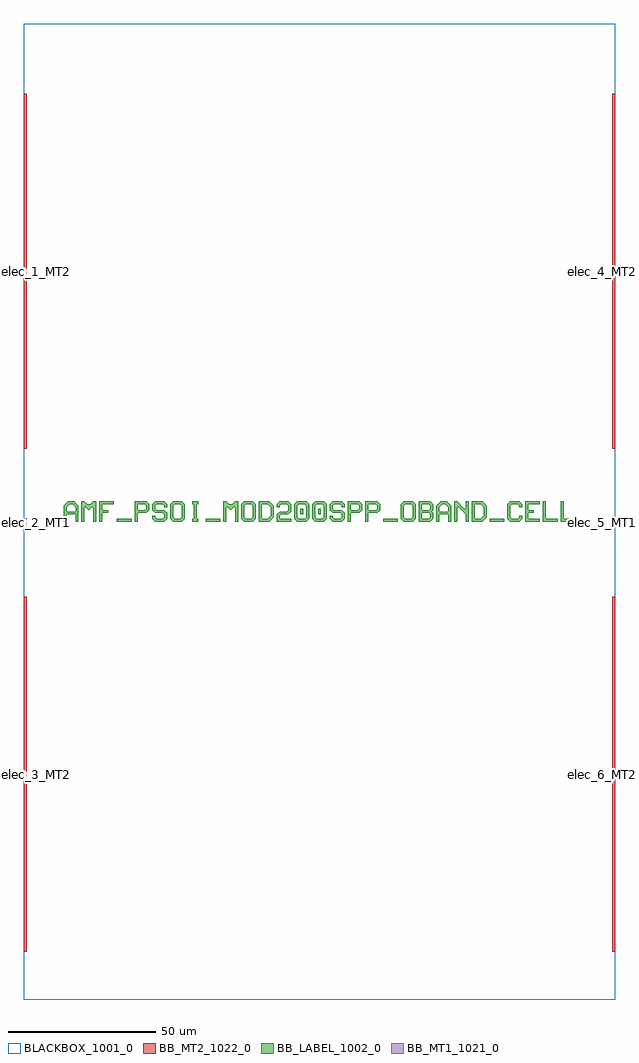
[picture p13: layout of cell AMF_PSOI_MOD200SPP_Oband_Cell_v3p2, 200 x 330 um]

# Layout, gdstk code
import gdstk
lib = gdstk.Library(unit=1e-6, precision=1e-09)
def R(c, l, rs):  # rectangles x0, y0, x1, y1
    for r in rs: c.add(gdstk.rectangle(r[:2], r[2:], *l))
def P(c, l, *ps):  # polygons
    for p in ps: c.add(gdstk.Polygon(p, *l))
BLACKBOX_1001_0 = (1001, 0)
BB_LABEL_1002_0 = (1002, 0)
BB_MT1_1021_0 = (1021, 0)
BB_MT2_1022_0 = (1022, 0)

amf_psoi_mod200spp_oband = lib.new_cell('AMF_PSOI_MOD200SPP_Oband_Cell_v3p2')
R(amf_psoi_mod200spp_oband, BLACKBOX_1001_0, [(0,-161.2,200,168.8)])
R(amf_psoi_mod200spp_oband, BB_LABEL_1002_0, [(31.5,0.3,36.5,1.3), (61.5,0.3,66.5,1.3), (121.5,0.3,126.5,1.3), (157.5,0.3,162.5,1.3), (93.5,2.8,94.5,4.8), (99.5,2.8,100.5,4.8)])
P(amf_psoi_mod200spp_oband, BB_LABEL_1002_0, [(13.5,0.3),(13.5,5.8),(15,7.3),(17,7.3),(18,6.3),(15.5,6.3),(14.5,5.3),(14.5,3.8),(17.5,3.8),(17.5,5.3),(16.5,6.3),(18,6.3),(18.5,5.8),(18.5,0.3),(17.5,0.3),(17.5,2.8),(14.5,2.8),(14.5,0.3)],
  [(19.5,0.3),(19.5,7.3),(20.5,7.3),(21.5,6.3),(22.5,6.3),(23.5,7.3),(24.5,7.3),(24.5,0.3),(23.5,0.3),(23.5,5.3),(23,5.3),(22,4.3),(21,5.3),(20.5,5.3),(20.5,0.3)],
  [(25.5,0.3),(25.5,7.3),(30.5,7.3),(30.5,6.3),(26.5,6.3),(26.5,4.3),(28.5,4.3),(28.5,3.3),(26.5,3.3),(26.5,0.3)],
  [(37.5,0.3),(37.5,7.3),(41.5,7.3),(42.5,6.3),(42.5,4.3),(41.5,3.3),(38.5,3.3),(38.5,4.3),(41,4.3),(41.5,4.8),(41.5,5.8),(41,6.3),(38.5,6.3),(38.5,0.3)],
  [(44.5,0.3),(43.5,1.3),(43.5,2.3),(44.5,2.3),(44.5,1.8),(45,1.3),(47,1.3),(47.5,1.8),(47.5,2.8),(47,3.3),(44.5,3.3),(43.5,4.3),(43.5,6.3),(44.5,7.3),(47.5,7.3),(48.5,6.3),(48.5,5.3),(47.5,5.3),(47.5,5.8),(47,6.3),(45,6.3),(44.5,5.8),(44.5,4.8),(45,4.3),(47.5,4.3),(48.5,3.3),(48.5,1.3),(47.5,0.3)],
  [(50.5,0.3),(49.5,1.3),(49.5,6.3),(50.5,7.3),(53.5,7.3),(54.5,6.3),(54.5,3.8),(53.5,3.8),(53.5,5.8),(53,6.3),(51,6.3),(50.5,5.8),(50.5,1.8),(51,1.3),(53,1.3),(53.5,1.8),(53.5,3.8),(54.5,3.8),(54.5,1.3),(53.5,0.3)],
  [(57,0.3),(57,1.3),(57.5,1.3),(57.5,6.3),(57,6.3),(57,7.3),(59,7.3),(59,6.3),(58.5,6.3),(58.5,1.3),(59,1.3),(59,0.3)],
  [(67.5,0.3),(67.5,7.3),(68.5,7.3),(69.5,6.3),(70.5,6.3),(71.5,7.3),(72.5,7.3),(72.5,0.3),(71.5,0.3),(71.5,5.3),(71,5.3),(70,4.3),(69,5.3),(68.5,5.3),(68.5,0.3)],
  [(74.5,0.3),(73.5,1.3),(73.5,6.3),(74.5,7.3),(77.5,7.3),(78.5,6.3),(78.5,3.8),(77.5,3.8),(77.5,5.8),(77,6.3),(75,6.3),(74.5,5.8),(74.5,1.8),(75,1.3),(77,1.3),(77.5,1.8),(77.5,3.8),(78.5,3.8),(78.5,1.3),(77.5,0.3)],
  [(79.5,0.3),(79.5,7.3),(83,7.3),(84,6.3),(80.5,6.3),(80.5,1.3),(82.5,1.3),(83.5,2.3),(83.5,5.3),(82.5,6.3),(84,6.3),(84.5,5.8),(84.5,1.8),(83,0.3)],
  [(85.5,0.3),(85.5,2.8),(86.5,3.8),(89,3.8),(89.5,4.3),(89.5,5.8),(89,6.3),(87,6.3),(86.5,5.8),(86.5,5.3),(85.5,5.3),(85.5,6.3),(86.5,7.3),(89.5,7.3),(90.5,6.3),(90.5,3.8),(89.5,2.8),(87,2.8),(86.5,2.3),(86.5,1.3),(90.5,1.3),(90.5,0.3)],
  [(92.5,0.3),(91.5,1.3),(91.5,6.3),(92.5,7.3),(95.5,7.3),(96.5,6.3),(93,6.3),(92.5,5.8),(92.5,1.8),(93,1.3),(95,1.3),(95.5,1.8),(95.5,5.8),(95,6.3),(96.5,6.3),(96.5,1.3),(95.5,0.3)],
  [(98.5,0.3),(97.5,1.3),(97.5,6.3),(98.5,7.3),(101.5,7.3),(102.5,6.3),(99,6.3),(98.5,5.8),(98.5,1.8),(99,1.3),(101,1.3),(101.5,1.8),(101.5,5.8),(101,6.3),(102.5,6.3),(102.5,1.3),(101.5,0.3)],
  [(104.5,0.3),(103.5,1.3),(103.5,2.3),(104.5,2.3),(104.5,1.8),(105,1.3),(107,1.3),(107.5,1.8),(107.5,2.8),(107,3.3),(104.5,3.3),(103.5,4.3),(103.5,6.3),(104.5,7.3),(107.5,7.3),(108.5,6.3),(108.5,5.3),(107.5,5.3),(107.5,5.8),(107,6.3),(105,6.3),(104.5,5.8),(104.5,4.8),(105,4.3),(107.5,4.3),(108.5,3.3),(108.5,1.3),(107.5,0.3)],
  [(109.5,0.3),(109.5,7.3),(113.5,7.3),(114.5,6.3),(114.5,4.3),(113.5,3.3),(110.5,3.3),(110.5,4.3),(113,4.3),(113.5,4.8),(113.5,5.8),(113,6.3),(110.5,6.3),(110.5,0.3)],
  [(115.5,0.3),(115.5,7.3),(119.5,7.3),(120.5,6.3),(120.5,4.3),(119.5,3.3),(116.5,3.3),(116.5,4.3),(119,4.3),(119.5,4.8),(119.5,5.8),(119,6.3),(116.5,6.3),(116.5,0.3)],
  [(128.5,0.3),(127.5,1.3),(127.5,6.3),(128.5,7.3),(131.5,7.3),(132.5,6.3),(132.5,3.8),(131.5,3.8),(131.5,5.8),(131,6.3),(129,6.3),(128.5,5.8),(128.5,1.8),(129,1.3),(131,1.3),(131.5,1.8),(131.5,3.8),(132.5,3.8),(132.5,1.3),(131.5,0.3)],
  [(133.5,0.3),(133.5,7.3),(137.5,7.3),(138.5,6.3),(134.5,6.3),(134.5,4.3),(137,4.3),(137.5,4.8),(137.5,5.8),(137,6.3),(138.5,6.3),(138.5,4.3),(138,3.8),(138.5,3.3),(134.5,3.3),(134.5,1.3),(137,1.3),(137.5,1.8),(137.5,2.8),(137,3.3),(138.5,3.3),(138.5,1.3),(137.5,0.3)],
  [(139.5,0.3),(139.5,5.8),(141,7.3),(143,7.3),(144,6.3),(141.5,6.3),(140.5,5.3),(140.5,3.8),(143.5,3.8),(143.5,5.3),(142.5,6.3),(144,6.3),(144.5,5.8),(144.5,0.3),(143.5,0.3),(143.5,2.8),(140.5,2.8),(140.5,0.3)],
  [(145.5,0.3),(145.5,7.3),(146.5,7.3),(149,4.8),(149.5,4.8),(149.5,7.3),(150.5,7.3),(150.5,0.3),(149.5,0.3),(149.5,2.8),(147,5.3),(146.5,5.3),(146.5,0.3)],
  [(151.5,0.3),(151.5,7.3),(155,7.3),(156,6.3),(152.5,6.3),(152.5,1.3),(154.5,1.3),(155.5,2.3),(155.5,5.3),(154.5,6.3),(156,6.3),(156.5,5.8),(156.5,1.8),(155,0.3)],
  [(164.5,0.3),(163.5,1.3),(163.5,6.3),(164.5,7.3),(167.5,7.3),(168.5,6.3),(168.5,5.3),(167.5,5.3),(167.5,5.8),(167,6.3),(165,6.3),(164.5,5.8),(164.5,1.8),(165,1.3),(167,1.3),(167.5,1.8),(167.5,2.3),(168.5,2.3),(168.5,1.3),(167.5,0.3)],
  [(169.5,0.3),(169.5,7.3),(174.5,7.3),(174.5,6.3),(170.5,6.3),(170.5,4.3),(172.5,4.3),(172.5,3.3),(170.5,3.3),(170.5,1.3),(174.5,1.3),(174.5,0.3)],
  [(175.5,0.3),(175.5,7.3),(176.5,7.3),(176.5,1.3),(180.5,1.3),(180.5,0.3)],
  [(181.5,0.3),(181.5,7.3),(182.5,7.3),(182.5,1.3),(186.5,1.3),(186.5,0.3)])
R(amf_psoi_mod200spp_oband, BB_MT1_1021_0, [(0,-1.5,1,1.5), (199,-1.5,200,1.5)])
R(amf_psoi_mod200spp_oband, BB_MT2_1022_0, [(0,-145,1,-25), (199,-145,200,-25), (0,25,1,145), (199,25,200,145)])
amf_psoi_mod200spp_oband.add(gdstk.Label('elec_4_MT2', (200,85), layer=1022, texttype=0))
amf_psoi_mod200spp_oband.add(gdstk.Label('elec_6_MT2', (200,-85), layer=1022, texttype=0))
amf_psoi_mod200spp_oband.add(gdstk.Label('elec_1_MT2', (0,85), layer=1022, texttype=0))
amf_psoi_mod200spp_oband.add(gdstk.Label('elec_3_MT2', (0,-85), layer=1022, texttype=0))
amf_psoi_mod200spp_oband.add(gdstk.Label('elec_5_MT1', (200,0), layer=1021, texttype=0))
amf_psoi_mod200spp_oband.add(gdstk.Label('elec_2_MT1', (0,0), layer=1021, texttype=0))

lib.write_gds('AMF_PSOI_MOD200SPP_Oband_Cell_v3p2.gds')
